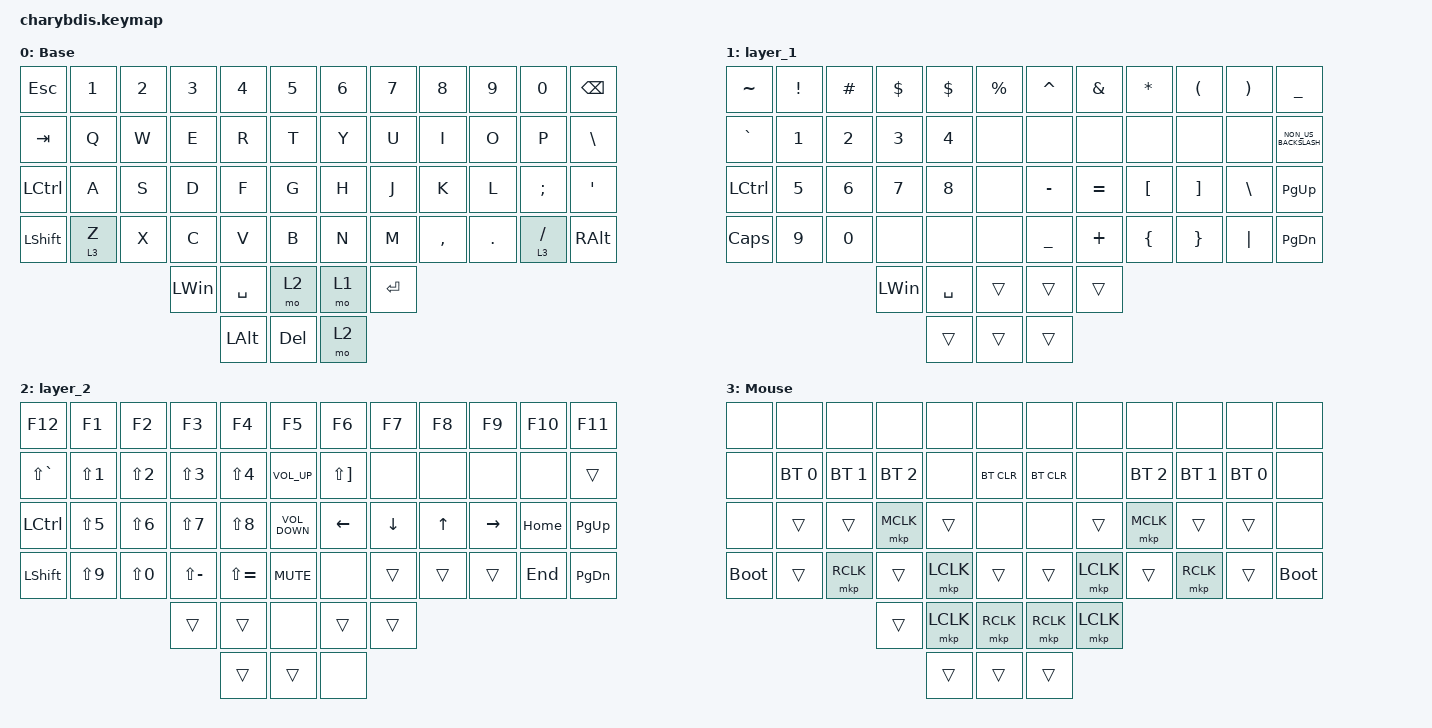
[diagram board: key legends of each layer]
#include <dt-bindings/zmk/mouse.h>
#include <behaviors.dtsi>
#include <dt-bindings/zmk/bt.h>
#include <dt-bindings/zmk/keys.h>
#include <dt-bindings/zmk/pointing.h>

&lt {
    tapping-term-ms = <200>;
    flavor = "balanced";
    quick-tap-ms = <150>;
};

/ {
    combos {
        compatible = "zmk,combos";

        escc {
            bindings = <&kp ESC>;
            key-positions = <17 18>;
            layers = <0>;
        };
    };

    behaviors {
        tap_dance_caps: tap_dance_caps {
            compatible = "zmk,behavior-tap-dance";
            label = "TAP_DANCE_CAPS";
            #binding-cells = <0>;
            bindings = <&kp LS(A)>, <&kp CAPSLOCK>;
        };
    };

    keymap {
        compatible = "zmk,keymap";

        Base {
            bindings = <
&kp ESC           &kp N1   &kp N2  &kp N3        &kp N4        &kp N5        &kp N6  &kp N7     &kp N8     &kp N9   &kp N0       &kp BSPC
&kp TAB           &kp Q    &kp W   &kp E         &kp R         &kp T         &kp Y   &kp U      &kp I      &kp O    &kp P        &kp BACKSLASH
&kp LEFT_CONTROL  &kp A    &kp S   &kp D         &kp F         &kp G         &kp H   &kp J      &kp K      &kp L    &kp SEMI     &kp APOS
&kp LEFT_SHIFT    &lt 3 Z  &kp X   &kp C         &kp V         &kp B         &kp N   &kp M      &kp COMMA  &kp DOT  &lt 3 SLASH  &kp RIGHT_ALT
                                   &kp LEFT_WIN  &kp SPACE     &mo 2         &mo 1   &kp ENTER
                                                 &kp LEFT_ALT  &kp DELETE    &mo 2
            >;

            trackball-bindings = <&tmv_coarse>;
        };

        layer_1 {
            bindings = <
&kp TILDE         &kp EXCLAMATION  &kp HASH      &kp DOLLAR    &kp DOLLAR    &kp PERCENT    &kp CARET       &kp AMPERSAND  &kp ASTERISK      &kp LEFT_PARENTHESIS  &kp RIGHT_PARENTHESIS  &kp UNDERSCORE
&kp GRAVE         &kp NUMBER_1     &kp NUMBER_2  &kp NUMBER_3  &kp NUMBER_4  &none          &none           &none          &none             &none                 &none                  &kp NON_US_BACKSLASH
&kp LEFT_CONTROL  &kp NUMBER_5     &kp NUMBER_6  &kp NUMBER_7  &kp NUMBER_8  &none          &kp MINUS       &kp EQUAL      &kp LEFT_BRACKET  &kp RIGHT_BRACKET     &kp BACKSLASH          &kp PAGE_UP
&kp CAPSLOCK      &kp NUMBER_9     &kp NUMBER_0  &none         &none         &none          &kp UNDERSCORE  &kp PLUS       &kp LEFT_BRACE    &kp RIGHT_BRACE       &kp PIPE               &kp PAGE_DOWN
                                                 &kp LEFT_WIN  &kp SPACE     &trans         &trans          &trans
                                                               &trans        &trans         &trans
            >;
        };

        layer_2 {
            bindings = <
&kp F12           &kp F1      &kp F2      &kp F3         &kp F4         &kp F5               &kp F6        &kp F7    &kp F8  &kp F9     &kp F10   &kp F11
&kp LS(GRAVE)     &kp LS(N1)  &kp LS(N2)  &kp LS(N3)     &kp LS(N4)     &kp C_VOLUME_UP      &kp LS(RBKT)  &none     &none   &none      &none     &trans
&kp LEFT_CONTROL  &kp LS(N5)  &kp LS(N6)  &kp LS(N7)     &kp LS(N8)     &kp C_VOLUME_DOWN    &kp LEFT      &kp DOWN  &kp UP  &kp RIGHT  &kp HOME  &kp PAGE_UP
&kp LEFT_SHIFT    &kp LS(N9)  &kp LS(N0)  &kp LS(MINUS)  &kp LS(EQUAL)  &kp C_MUTE           &none         &trans    &trans  &trans     &kp END   &kp PAGE_DOWN
                                          &trans         &trans         &none                &trans        &trans
                                                         &trans         &trans               &none
            >;
        };

        Mouse {
            bindings = <
&none        &none         &none         &none         &none      &none         &none       &none      &none         &none         &none         &none
&none        &bt BT_SEL 0  &bt BT_SEL 1  &bt BT_SEL 2  &none      &bt BT_CLR    &bt BT_CLR  &none      &bt BT_SEL 2  &bt BT_SEL 1  &bt BT_SEL 0  &none
&none        &trans        &trans        &mkp MCLK     &trans     &none         &none       &trans     &mkp MCLK     &trans        &trans        &none
&bootloader  &trans        &mkp RCLK     &trans        &mkp LCLK  &trans        &trans      &mkp LCLK  &trans        &mkp RCLK     &trans        &bootloader
                                         &trans        &mkp LCLK  &mkp RCLK     &mkp RCLK   &mkp LCLK
                                                       &trans     &trans        &trans
            >;
        };
    };
};
